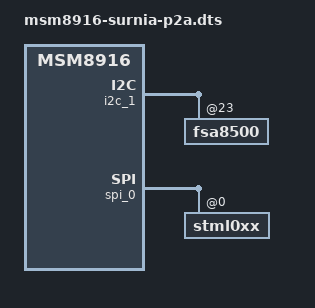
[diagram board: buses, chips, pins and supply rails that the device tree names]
/* Copyright (c) 2014, Motorola Mobility LLC. All rights reserved.
*
* This program is free software; you can redistribute it and/or modify
* it under the terms of the GNU General Public License version 2 and
* only version 2 as published by the Free Software Foundation.
*
* This program is distributed in the hope that it will be useful,
* but WITHOUT ANY WARRANTY; without even the implied warranty of
* MERCHANTABILITY or FITNESS FOR A PARTICULAR PURPOSE.  See the
* GNU General Public License for more details.
*/

/dts-v1/;

#include "msm8916-styx.dtsi"

/ {
	qcom,board-id = <0x43 0x82a0>;
};

&i2c_1 {
	fsa8500@23 {
		status = "ok";
	};
};

&spi_0 {
	stml0xx@0 {
		headset_detect_enable = <0>;
	};
};

&pm8916_mpps {
	mpp@a100 { /* MPP 2 */
		/* CCP_RESOUT_N */
		status = "ok";
		qcom,mode = <0>;      /* Digital Input */
		qcom,vin-sel = <2>;   /* VIN 2 (1.8V) */
		qcom,src-sel = <0>;   /* GPIO */
		qcom,master-en = <1>; /* Enable MPP */
	};
};
